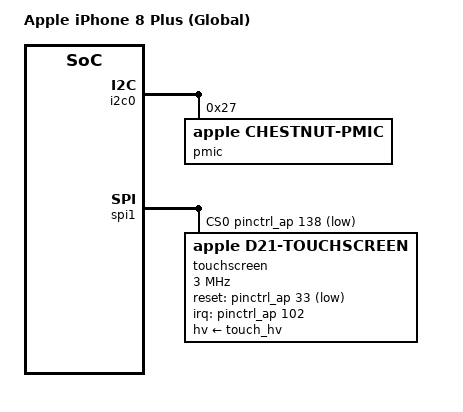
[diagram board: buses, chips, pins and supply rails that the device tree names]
// SPDX-License-Identifier: GPL-2.0+ OR MIT
/*
 * Apple iPhone 8 Plus (Global), D21 iPhone10,2 (A1864/A1897/A1898)
 * Copyright (c) 2022, Konrad Dybcio <konradybcio@kernel.org>
 */

/dts-v1/;

#include "t8015-8plus.dtsi"

/ {
	compatible = "apple,d21", "apple,t8015", "apple,arm-platform";
	model = "Apple iPhone 8 Plus (Global)";

	/* m1n1 copies the ADT's touch calibrations to this node. */
	aliases {
		touchscreen0 = &touchscreen;
	};
};

/* The display PMIC, ADT "display-pmu,chestnut". */
&i2c0 {
	status = "okay";

	pmic@27 {
		compatible = "apple,chestnut-pmic";
		reg = <0x27>;

		/* ADT multi-touch function-power_ana = dpLE(0x302) */
		touch_hv: regulator-touch-hv {
			compatible = "apple,chestnut-touch-hv-regulator";
		};
	};
};

/*
 * The touch controller (ADT "hid-transport,k1"), chip select GPIO 138.
 * The core rail (ADT function-power_ldo = pKW4('rBK3', 0x5020000)) is
 * switched by the driver through the SMC, so it is not a supply here.
 * The line is level-low in hardware; the driver sets that type anyway,
 * and declaring it keeps a module reload from a type mismatch.
 */
&spi1 {
	cs-gpios = <&pinctrl_ap 138 GPIO_ACTIVE_LOW>;
	status = "okay";

	touchscreen: touchscreen@0 {
		compatible = "apple,d21-touchscreen";
		reg = <0>;
		spi-max-frequency = <3000000>;
		spi-cpol;
		spi-cpha;
		apple,z2-no-init-ack;
		interrupts-extended = <&pinctrl_ap 102 IRQ_TYPE_LEVEL_LOW>;
		reset-gpios = <&pinctrl_ap 33 GPIO_ACTIVE_LOW>;
		hv-supply = <&touch_hv>;
		clocks = <&touchclk>;
		firmware-name = "apple/dfrmtfw-d21-c1f5e-4.bin";
		touchscreen-size-x = <1080>;
		touchscreen-size-y = <1920>;
	};
};
